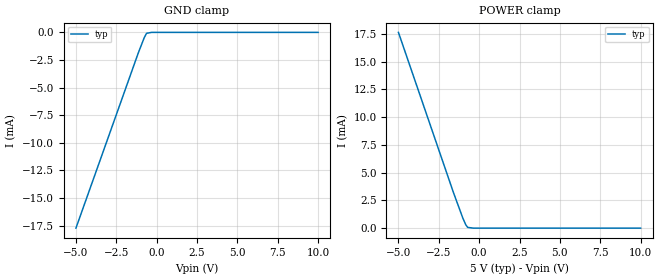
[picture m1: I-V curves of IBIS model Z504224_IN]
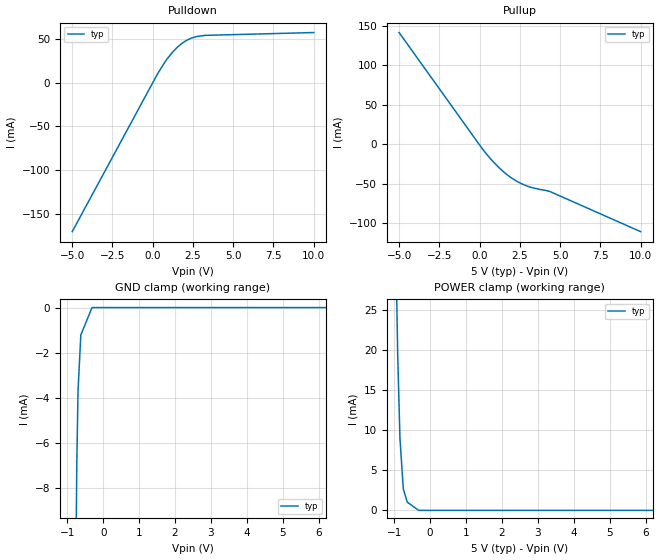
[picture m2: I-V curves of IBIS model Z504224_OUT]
| YOU ARE ONLY AUTHORIZED TO USE THIS SOFTWARE
| ACCORDING TO LICENSOR'S LICENSE RESTRICTIONS.
[IBIS Ver] 3.1
[File Name] mc74hc393d.ibs
[File Rev] 2.0
[Source] Measured and created by ICX Technology
[Date] Friday 7/14/00 9:08:09 AM
[Copyright]
| (C) COPYRIGHT 1993-2000
| MENTOR GRAPHICS CORPORATION
| ICX STANDARD LIBRARY, ICX PROJECT MODELING,
| ICX CUSTOM MODELING, ICX VENDOR MODEL
| ALL RIGHTS RESERVED.
| THE FOLLOWING ARE TRADEMARKS OR SERVICE MARKS OF
| MENTOR GRAPHICS CORPORATION:ICX (R), ICX STANDARD
| LIBRARY(R), ICX PROJECT MODELING(R), ICX CUSTOM
| MODELING(R), qualityIBIS(TM), MODELVIEWER(TM),
| AND MODELEDITOR(TM)
| ALL COPIES OF SOFTWARE, INCLUDING BUT NOT LIMITED TO
| ANY MODIFICATIONS, ENHANCEMENTS OR DERIVATIVE WORKS,
| MUST CONTAIN ALL MENTOR GRAPHICS CORPORATION'S
| NOTICES AND LEGENDS, INCLUDING THOSE EMBEDDED IN
| SOFTWARE AND THOSE AFFIXED TO SOFTWARE MEDIUM
| AND CONTAINER, AS RECEIVED FROM MENTOR GRAPHICS
| CORPORATION.
|  ZAP Model Builder 2.7
[Component] MC74HC393D
[Manufacturer] OnSemiconductor
[Package]
| variable   typ   min   max
R_pkg  .155ohms NA NA
L_pkg  3.028nH NA NA
C_pkg  .381pF NA NA
[Pin] signal_name  model_name  R_pin  L_pin C_pin
1 _CLKA Z504224_IN .16 3.587n .407p
2 CLR Z504224_IN .156 3.147n .387p
3 QA Z504224_OUT .152 2.717n .367p
4 QB Z504224_OUT .148 2.297n .347p
5 QC Z504224_OUT .152 2.717n .367p
6 QD Z504224_OUT .156 3.147n .387p
7 GROUND GND .16 3.587n .407p
8 QD Z504224_OUT .16 3.587n .407p
9 QC Z504224_OUT .156 3.147n .387p
10 QB Z504224_OUT .152 2.717n .367p
11 QA Z504224_OUT .148 2.297n .347p
12 CLR Z504224_IN .152 2.717n .367p
13 _CLKA Z504224_IN .156 3.147n .387p
14 VCC POWER .16 3.587n .407p
| Models and submodels in the file (2): Z504224_IN (Input), Z504224_OUT (Output)
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| (C) COPYRIGHT 1993-2000
| MENTOR GRAPHICS CORPORATION
| ICX STANDARD LIBRARY, ICX PROJECT MODELING,
| ICX CUSTOM MODELING, ICX VENDOR MODEL
| ALL RIGHTS RESERVED.
| THE FOLLOWING ARE TRADEMARKS OR SERVICE MARKS OF
| MENTOR GRAPHICS CORPORATION:ICX (R), ICX STANDARD
| LIBRARY(R), ICX PROJECT MODELING(R), ICX CUSTOM
| MODELING(R), qualityIBIS(TM), MODELVIEWER(TM),
| AND MODELEDITOR(TM)
| ALL COPIES OF SOFTWARE, INCLUDING BUT NOT LIMITED TO
| ANY MODIFICATIONS, ENHANCEMENTS OR DERIVATIVE WORKS,
| MUST CONTAIN ALL MENTOR GRAPHICS CORPORATION'S
| NOTICES AND LEGENDS, INCLUDING THOSE EMBEDDED IN
| SOFTWARE AND THOSE AFFIXED TO SOFTWARE MEDIUM
| AND CONTAINER, AS RECEIVED FROM MENTOR GRAPHICS
| CORPORATION.
| Model Application Version 1.89 2/18/99.
[Model] Z504224_IN
Model_type Input
Vinl = 1.000V
Vinh = 3.500V
C_comp 4.000pF NA NA
| variable typ   min   max
[Voltage Range] 5.000V NA NA
[GND Clamp Reference] 0.000V NA NA
[POWER Clamp Reference] 5.000V NA NA
[GND Clamp]
-5V       -17.72mA   NA         NA
-1.133V   -1.847mA   NA         NA
-766.4mV  -473.3uA   NA         NA
-625.8mV  -88.7uA    NA         NA
-312.9mV  -4.38uA    NA         NA
10V       -3.689uA   NA         NA
[POWER Clamp]
-5V       17.65mA    NA         NA
-1.599V   3.238mA    NA         NA
-1.005V   882.3uA    NA         NA
-830mV    306.3uA    NA         NA
-711mV    66.95uA    NA         NA
-355.5mV  0A         NA         NA
10V       0A         NA         NA
| (C) COPYRIGHT 1993-2000
| MENTOR GRAPHICS CORPORATION
| ICX STANDARD LIBRARY, ICX PROJECT MODELING,
| ICX CUSTOM MODELING, ICX VENDOR MODEL
| ALL RIGHTS RESERVED.
| THE FOLLOWING ARE TRADEMARKS OR SERVICE MARKS OF
| MENTOR GRAPHICS CORPORATION:ICX (R), ICX STANDARD
| LIBRARY(R), ICX PROJECT MODELING(R), ICX CUSTOM
| MODELING(R), qualityIBIS(TM), MODELVIEWER(TM),
| AND MODELEDITOR(TM)
| ALL COPIES OF SOFTWARE, INCLUDING BUT NOT LIMITED TO
| ANY MODIFICATIONS, ENHANCEMENTS OR DERIVATIVE WORKS,
| MUST CONTAIN ALL MENTOR GRAPHICS CORPORATION'S
| NOTICES AND LEGENDS, INCLUDING THOSE EMBEDDED IN
| SOFTWARE AND THOSE AFFIXED TO SOFTWARE MEDIUM
| AND CONTAINER, AS RECEIVED FROM MENTOR GRAPHICS
| CORPORATION.
| Model Application Version 1.89 2/18/99.
[Model] Z504224_OUT
Model_type Output
Vref=0.000V
Rref=500.0Mohms
Cref=50.00pF
Vmeas=2.500V
C_comp 8.000pF NA NA
| variable typ   min   max
[Voltage Range] 5.000V NA NA
[POWER Clamp Reference] 5.000V NA NA
[Pullup Reference] 5.000V NA NA
[Pulldown Reference] 0.000V NA NA
[GND Clamp Reference] 0.000V NA NA
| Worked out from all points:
|   slope of the pulldown table from 0 to 0.75 V, typ, clamps not added: 32 ohm
|   slope of the pullup table from 0 to 0.75 V, typ, clamps not added: 39.3 ohm
[GND Clamp]
-5V       -617.6mA   NA         NA
-1.007V   -55.78mA   NA         NA
-736.6mV  -6.903mA   NA         NA
-702.2mV  -3.695mA   NA         NA
-624.7mV  -1.215mA   NA         NA
-312.4mV  0A         NA         NA
10V       0A         NA         NA
[Pulldown]
-5V       -170.5mA   NA         NA
295.7mV   9.975mA    NA         NA
913.1mV   27.67mA    NA         NA
1.227V    34.76mA    NA         NA
1.734V    43.82mA    NA         NA
2.363V    50.69mA    NA         NA
3.223V    54.1mA     NA         NA
10V       57.35mA    NA         NA
[Pullup]
-5V       141.7mA    NA         NA
157mV     -5.193mA   NA         NA
742mV     -19.64mA   NA         NA
1.461V    -34.16mA   NA         NA
1.953V    -42.03mA   NA         NA
2.585V    -49.55mA   NA         NA
3.296V    -54.93mA   NA         NA
4.366V    -59.59mA   NA         NA
10V       -110.4mA   NA         NA
[POWER Clamp]
-5V       1.491A     NA         NA
-1.317V   143mA      NA         NA
-1.103V   71.79mA    NA         NA
-903mV    19.49mA    NA         NA
-840mV    9.005mA    NA         NA
-747mV    2.685mA    NA         NA
-635mV    1.016mA    NA         NA
-317.5mV  0A         NA         NA
10V       0A         NA         NA
[Ramp]
| variable typ min max
dV/dt_r 2.807/1.566n NA NA
dV/dt_f 2.807/1.412n NA NA
R_load = 500.0Ohms
